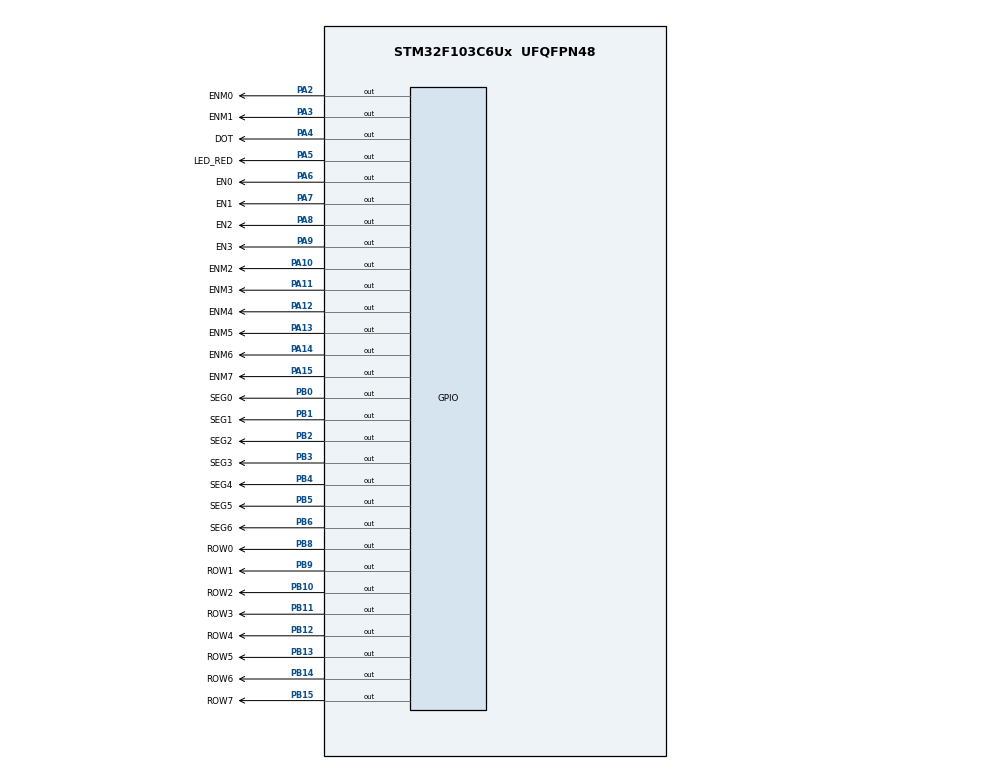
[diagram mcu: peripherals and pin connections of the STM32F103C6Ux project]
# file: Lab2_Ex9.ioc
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Mcu.Family=STM32F1
Mcu.Name=STM32F103C6Ux
Mcu.Package=UFQFPN48
NVIC.PriorityGroup=NVIC_PRIORITYGROUP_4
NVIC.TIM2_IRQn=true\:0\:0\:false\:false\:true\:true\:true
PA10.GPIO_Label=ENM2
PA10.Signal=GPIO_Output
PA11.GPIO_Label=ENM3
PA11.Signal=GPIO_Output
PA12.GPIO_Label=ENM4
PA12.Signal=GPIO_Output
PA13.GPIO_Label=ENM5
PA13.Signal=GPIO_Output
PA14.GPIO_Label=ENM6
PA14.Signal=GPIO_Output
PA15.GPIO_Label=ENM7
PA15.Signal=GPIO_Output
PA2.GPIO_Label=ENM0
PA2.Signal=GPIO_Output
PA3.GPIO_Label=ENM1
PA3.Signal=GPIO_Output
PA4.GPIO_Label=DOT
PA4.Signal=GPIO_Output
PA5.GPIO_Label=LED_RED
PA5.Signal=GPIO_Output
PA6.GPIO_Label=EN0
PA6.Signal=GPIO_Output
PA7.GPIO_Label=EN1
PA7.Signal=GPIO_Output
PA8.GPIO_Label=EN2
PA8.Signal=GPIO_Output
PA9.GPIO_Label=EN3
PA9.Signal=GPIO_Output
PB0.GPIO_Label=SEG0
PB0.Signal=GPIO_Output
PB1.GPIO_Label=SEG1
PB1.Signal=GPIO_Output
PB10.GPIO_Label=ROW2
PB10.Signal=GPIO_Output
PB11.GPIO_Label=ROW3
PB11.Signal=GPIO_Output
PB12.GPIO_Label=ROW4
PB12.Signal=GPIO_Output
PB13.GPIO_Label=ROW5
PB13.Signal=GPIO_Output
PB14.GPIO_Label=ROW6
PB14.Signal=GPIO_Output
PB15.GPIO_Label=ROW7
PB15.Signal=GPIO_Output
PB2.GPIO_Label=SEG2
PB2.Signal=GPIO_Output
PB3.GPIO_Label=SEG3
PB3.Signal=GPIO_Output
PB4.GPIO_Label=SEG4
PB4.Signal=GPIO_Output
PB5.GPIO_Label=SEG5
PB5.Signal=GPIO_Output
PB6.GPIO_Label=SEG6
PB6.Signal=GPIO_Output
PB8.GPIO_Label=ROW0
PB8.Signal=GPIO_Output
PB9.GPIO_Label=ROW1
PB9.Signal=GPIO_Output
ProjectManager.HeapSize=0x200
ProjectManager.StackSize=0x400
ProjectManager.TargetToolchain=STM32CubeIDE
RCC.APB1Freq_Value=8000000
RCC.APB2Freq_Value=8000000
TIM2.Period=9
TIM2.Prescaler=7999
VP_SYS_VS_ND.Mode=No_Debug
VP_TIM2_VS_ClockSourceINT.Mode=Internal
board=custom

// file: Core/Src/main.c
/* USER CODE BEGIN Header */
/**
  ******************************************************************************
  * @file           : main.c
  * @brief          : Main program body
  ******************************************************************************
  * @attention
  *
  * <h2><center>&copy; Copyright (c) 2026 STMicroelectronics.
  * All rights reserved.</center></h2>
  *
  * This software component is licensed by ST under BSD 3-Clause license,
  * the "License"; You may not use this file except in compliance with the
  * License. You may obtain a copy of the License at:
  *                        opensource.org/licenses/BSD-3-Clause
  *
  ******************************************************************************
  */
/* USER CODE END Header */
#include "main.h"

TIM_HandleTypeDef htim2;

/* USER CODE BEGIN PV */
const int MAX_LED = 4;
int index_led = 0;
int led_buffer[4] = {0, 0, 0, 0};

int hour = 15;
int minute = 8;
int second = 50;

// For ex3.9 , 3.10
const int MAX_LED_MATRIX = 8;
int index_led_matrix = 0;
uint8_t matrix_buffer[8] = {0x00, 0xFC, 0x12, 0x11, 0x11, 0x12, 0xFC, 0x00};

/* USER CODE END PV */

void SystemClock_Config(void);
static void MX_GPIO_Init(void);
static void MX_TIM2_Init(void);
/* USER CODE BEGIN PFP */
void display7SEG(int num);
void update7SEG(int index);
void updateClockBuffer(void);
void updateLEDMatrix(int index);
/* USER CODE END PFP */

/* USER CODE BEGIN 0 */
// --- TIMER 0 (For clock and DOT - 1000ms) ---
int timer0_counter = 0;
int timer0_flag = 0;

// --- TIMER 1 (led segment - 250ms) ---
int timer1_counter = 0;
int timer1_flag = 0;

// --- TIMER 2 ( 8 col LED Matrix - 20ms) ---
int timer2_counter = 0;
int timer2_flag = 0;

int TIMER_CYCLE = 10; // TIM2 10ms

void setTimer0(int duration) {
    timer0_counter = duration / TIMER_CYCLE;
    timer0_flag = 0;
}

void setTimer1(int duration) {
    timer1_counter = duration / TIMER_CYCLE;
    timer1_flag = 0;
}

void setTimer2(int duration) {
    timer2_counter = duration / TIMER_CYCLE;
    timer2_flag = 0;
}

void timer_run() {
    if (timer0_counter > 0) {
        timer0_counter--;
        if (timer0_counter == 0) timer0_flag = 1;
    }
    if (timer1_counter > 0) {
        timer1_counter--;
        if (timer1_counter == 0) timer1_flag = 1;
    }
    // Thêm bộ đếm cho Timer 2
    if (timer2_counter > 0) {
        timer2_counter--;
        if (timer2_counter == 0) timer2_flag = 1;
    }
}
/* USER CODE END 0 */

int main(void)
{

  /* MCU Configuration--------------------------------------------------------*/

  /* Reset of all peripherals, Initializes the Flash interface and the Systick. */
  HAL_Init();

  /* Configure the system clock */
  SystemClock_Config();

  /* Initialize all configured peripherals */
  MX_GPIO_Init();
  MX_TIM2_Init();
  /* USER CODE BEGIN 2 */
  // Function prototype
  HAL_TIM_Base_Start_IT (& htim2 );
  HAL_GPIO_WritePin(GPIOA, EN0_Pin | EN1_Pin | EN2_Pin | EN3_Pin, GPIO_PIN_SET);

  //Update initial val to led_buff
  updateClockBuffer();
  setTimer0(1000);
  setTimer1(250);
  setTimer2(20);
  /* USER CODE END 2 */

  /* Infinite loop */
  /* USER CODE BEGIN WHILE */
  while (1)
  {
	  // --- TASK 1: 7 led segment( 250ms) ---
	        if (timer1_flag == 1) {
	            setTimer1(250);

	            update7SEG(index_led);
	            index_led++;
	            if (index_led >= MAX_LED) {
	                index_led = 0;
	            }
	        }

	        // --- TASK 2:CLOCK & DOT (1000ms) ---
	        if (timer0_flag == 1) {
	            setTimer0(1000);

	            HAL_GPIO_TogglePin(DOT_GPIO_Port, DOT_Pin);

	            second++;
	            if (second >= 60) {
	                second = 0;
	                minute++;
	            }
	            if (minute >= 60) {
	                minute = 0;
	                hour++;
	            }
	            if (hour >= 24) {
	                hour = 0;
	            }

	            updateClockBuffer();
	        }

	        // --- TASK 3: matrix LED 8x8 (Every 20ms) ---
	             if (timer2_flag == 1) {
	                 setTimer2(20);

	                 updateLEDMatrix(index_led_matrix);
	                 index_led_matrix++;
	                 if (index_led_matrix >= MAX_LED_MATRIX) {
	                     index_led_matrix = 0;
	                 }
	             }
    /* USER CODE END WHILE */

  }
}

void SystemClock_Config(void)
{
  RCC_OscInitTypeDef RCC_OscInitStruct = {0};
  RCC_ClkInitTypeDef RCC_ClkInitStruct = {0};

  /** Initializes the RCC Oscillators according to the specified parameters
  * in the RCC_OscInitTypeDef structure.
  */
  RCC_OscInitStruct.OscillatorType = RCC_OSCILLATORTYPE_HSI;
  RCC_OscInitStruct.HSIState = RCC_HSI_ON;
  RCC_OscInitStruct.HSICalibrationValue = RCC_HSICALIBRATION_DEFAULT;
  RCC_OscInitStruct.PLL.PLLState = RCC_PLL_NONE;
  if (HAL_RCC_OscConfig(&RCC_OscInitStruct) != HAL_OK)
  {
    Error_Handler();
  }
  /** Initializes the CPU, AHB and APB buses clocks
  */
  RCC_ClkInitStruct.ClockType = RCC_CLOCKTYPE_HCLK|RCC_CLOCKTYPE_SYSCLK
                              |RCC_CLOCKTYPE_PCLK1|RCC_CLOCKTYPE_PCLK2;
  RCC_ClkInitStruct.SYSCLKSource = RCC_SYSCLKSOURCE_HSI;
  RCC_ClkInitStruct.AHBCLKDivider = RCC_SYSCLK_DIV1;
  RCC_ClkInitStruct.APB1CLKDivider = RCC_HCLK_DIV1;
  RCC_ClkInitStruct.APB2CLKDivider = RCC_HCLK_DIV1;

  if (HAL_RCC_ClockConfig(&RCC_ClkInitStruct, FLASH_LATENCY_0) != HAL_OK)
  {
    Error_Handler();
  }
}

static void MX_TIM2_Init(void)
{

  TIM_ClockConfigTypeDef sClockSourceConfig = {0};
  TIM_MasterConfigTypeDef sMasterConfig = {0};

  htim2.Instance = TIM2;
  htim2.Init.Prescaler = 7999;
  htim2.Init.CounterMode = TIM_COUNTERMODE_UP;
  htim2.Init.Period = 9;
  htim2.Init.ClockDivision = TIM_CLOCKDIVISION_DIV1;
  htim2.Init.AutoReloadPreload = TIM_AUTORELOAD_PRELOAD_DISABLE;
  if (HAL_TIM_Base_Init(&htim2) != HAL_OK)
  {
    Error_Handler();
  }
  sClockSourceConfig.ClockSource = TIM_CLOCKSOURCE_INTERNAL;
  if (HAL_TIM_ConfigClockSource(&htim2, &sClockSourceConfig) != HAL_OK)
  {
    Error_Handler();
  }
  sMasterConfig.MasterOutputTrigger = TIM_TRGO_RESET;
  sMasterConfig.MasterSlaveMode = TIM_MASTERSLAVEMODE_DISABLE;
  if (HAL_TIMEx_MasterConfigSynchronization(&htim2, &sMasterConfig) != HAL_OK)
  {
    Error_Handler();
  }

}

static void MX_GPIO_Init(void)
{
  GPIO_InitTypeDef GPIO_InitStruct = {0};

  /* GPIO Ports Clock Enable */
  __HAL_RCC_GPIOA_CLK_ENABLE();
  __HAL_RCC_GPIOB_CLK_ENABLE();

  /*Configure GPIO pin Output Level */
  HAL_GPIO_WritePin(GPIOA, ENM0_Pin|ENM1_Pin|DOT_Pin|LED_RED_Pin
                          |EN0_Pin|EN1_Pin|EN2_Pin|EN3_Pin
                          |ENM2_Pin|ENM3_Pin|ENM4_Pin|ENM5_Pin
                          |ENM6_Pin|ENM7_Pin, GPIO_PIN_RESET);

  /*Configure GPIO pin Output Level */
  HAL_GPIO_WritePin(GPIOB, SEG0_Pin|SEG1_Pin|SEG2_Pin|ROW2_Pin
                          |ROW3_Pin|ROW4_Pin|ROW5_Pin|ROW6_Pin
                          |ROW7_Pin|SEG3_Pin|SEG4_Pin|SEG5_Pin
                          |SEG6_Pin|ROW0_Pin|ROW1_Pin, GPIO_PIN_RESET);

  /*Configure GPIO pins : ENM0_Pin ENM1_Pin DOT_Pin LED_RED_Pin
                           EN0_Pin EN1_Pin EN2_Pin EN3_Pin
                           ENM2_Pin ENM3_Pin ENM4_Pin ENM5_Pin
                           ENM6_Pin ENM7_Pin */
  GPIO_InitStruct.Pin = ENM0_Pin|ENM1_Pin|DOT_Pin|LED_RED_Pin
                          |EN0_Pin|EN1_Pin|EN2_Pin|EN3_Pin
                          |ENM2_Pin|ENM3_Pin|ENM4_Pin|ENM5_Pin
                          |ENM6_Pin|ENM7_Pin;
  GPIO_InitStruct.Mode = GPIO_MODE_OUTPUT_PP;
  GPIO_InitStruct.Pull = GPIO_NOPULL;
  GPIO_InitStruct.Speed = GPIO_SPEED_FREQ_LOW;
  HAL_GPIO_Init(GPIOA, &GPIO_InitStruct);

  /*Configure GPIO pins : SEG0_Pin SEG1_Pin SEG2_Pin ROW2_Pin
                           ROW3_Pin ROW4_Pin ROW5_Pin ROW6_Pin
                           ROW7_Pin SEG3_Pin SEG4_Pin SEG5_Pin
                           SEG6_Pin ROW0_Pin ROW1_Pin */
  GPIO_InitStruct.Pin = SEG0_Pin|SEG1_Pin|SEG2_Pin|ROW2_Pin
                          |ROW3_Pin|ROW4_Pin|ROW5_Pin|ROW6_Pin
                          |ROW7_Pin|SEG3_Pin|SEG4_Pin|SEG5_Pin
                          |SEG6_Pin|ROW0_Pin|ROW1_Pin;
  GPIO_InitStruct.Mode = GPIO_MODE_OUTPUT_PP;
  GPIO_InitStruct.Pull = GPIO_NOPULL;
  GPIO_InitStruct.Speed = GPIO_SPEED_FREQ_LOW;
  HAL_GPIO_Init(GPIOB, &GPIO_InitStruct);

}

/* USER CODE BEGIN 4 */
void updateClockBuffer(void) {
    // hour: 15 -> led_buffer[0] = 1, led_buffer[1] = 5
    led_buffer[0] = hour / 10;
    led_buffer[1] = hour % 10;

    // minute: 8 -> led_buffer[2] = 0, led_buffer[3] = 8
    led_buffer[2] = minute / 10;
    led_buffer[3] = minute % 10;
}

void display7SEG(int num){
	//On = 0, OFF =1
	uint8_t hex_code[10] = {0x40 , 0x79 , 0x24 , 0x30 , 0x19 , 0x12 ,0x02 , 0x78 , 0x00 , 0x10 };

	if (num<0 || num>9) return;
	uint8_t code = hex_code[num];
	// Using shifting bit & AND logic to isolate the state of each pin
		HAL_GPIO_WritePin(GPIOB , SEG0_Pin, (( code >> 0) & 0x01 ) ? GPIO_PIN_SET : GPIO_PIN_RESET ) ;
		HAL_GPIO_WritePin(GPIOB , SEG1_Pin, (( code >> 1) & 0x01 ) ? GPIO_PIN_SET : GPIO_PIN_RESET ) ;
		HAL_GPIO_WritePin(GPIOB , SEG2_Pin, (( code >> 2) & 0x01 ) ? GPIO_PIN_SET : GPIO_PIN_RESET ) ;
		HAL_GPIO_WritePin(GPIOB , SEG3_Pin, (( code >> 3) & 0x01 ) ? GPIO_PIN_SET : GPIO_PIN_RESET ) ;
		HAL_GPIO_WritePin(GPIOB , SEG4_Pin, (( code >> 4) & 0x01 ) ? GPIO_PIN_SET : GPIO_PIN_RESET ) ;
		HAL_GPIO_WritePin(GPIOB , SEG5_Pin, (( code >> 5) & 0x01 ) ? GPIO_PIN_SET : GPIO_PIN_RESET ) ;
		HAL_GPIO_WritePin(GPIOB , SEG6_Pin, (( code >> 6) & 0x01 ) ? GPIO_PIN_SET : GPIO_PIN_RESET ) ;

}

void update7SEG(int index) {
    // Turn off all four LEDs before turning on a new one to prevent light bleed.
    HAL_GPIO_WritePin(EN0_GPIO_Port, EN0_Pin, GPIO_PIN_SET);
    HAL_GPIO_WritePin(EN1_GPIO_Port, EN1_Pin, GPIO_PIN_SET);
    HAL_GPIO_WritePin(EN2_GPIO_Port, EN2_Pin, GPIO_PIN_SET);
    HAL_GPIO_WritePin(EN3_GPIO_Port, EN3_Pin, GPIO_PIN_SET);

    switch (index) {
        case 0:
            display7SEG(led_buffer[0]);
            HAL_GPIO_WritePin(EN0_GPIO_Port, EN0_Pin, GPIO_PIN_RESET);
            break;
        case 1:
            display7SEG(led_buffer[1]);
            HAL_GPIO_WritePin(EN1_GPIO_Port, EN1_Pin, GPIO_PIN_RESET);
            break;
        case 2:
            display7SEG(led_buffer[2]);
            HAL_GPIO_WritePin(EN2_GPIO_Port, EN2_Pin, GPIO_PIN_RESET);
            break;
        case 3:
            display7SEG(led_buffer[3]);
            HAL_GPIO_WritePin(EN3_GPIO_Port, EN3_Pin, GPIO_PIN_RESET);
            break;
        default:
            break;
    }
}

void HAL_TIM_PeriodElapsedCallback(TIM_HandleTypeDef *htim) {
	if (htim->Instance == TIM2) {
	        // The interrupt function is dedicated solely to running the timer; it is extremely lightweight and fast.
	        timer_run();
	    }
}
//Function to output data to 8 lines (PB8 -> PB15)
void setRowMatrix(uint8_t value) {
	HAL_GPIO_WritePin(GPIOB, GPIO_PIN_8,  (value & 0x01) ? GPIO_PIN_RESET : GPIO_PIN_SET);
	    HAL_GPIO_WritePin(GPIOB, GPIO_PIN_9,  (value & 0x02) ? GPIO_PIN_RESET : GPIO_PIN_SET);
	    HAL_GPIO_WritePin(GPIOB, GPIO_PIN_10, (value & 0x04) ? GPIO_PIN_RESET : GPIO_PIN_SET);
	    HAL_GPIO_WritePin(GPIOB, GPIO_PIN_11, (value & 0x08) ? GPIO_PIN_RESET : GPIO_PIN_SET);
	    HAL_GPIO_WritePin(GPIOB, GPIO_PIN_12, (value & 0x10) ? GPIO_PIN_RESET : GPIO_PIN_SET);
	    HAL_GPIO_WritePin(GPIOB, GPIO_PIN_13, (value & 0x20) ? GPIO_PIN_RESET : GPIO_PIN_SET);
	    HAL_GPIO_WritePin(GPIOB, GPIO_PIN_14, (value & 0x40) ? GPIO_PIN_RESET : GPIO_PIN_SET);
	    HAL_GPIO_WritePin(GPIOB, GPIO_PIN_15, (value & 0x80) ? GPIO_PIN_RESET : GPIO_PIN_SET);
}
// Function to disable all 8 ENM columns to prevent image ghosting.
void clearAllColumns(void) {
	 HAL_GPIO_WritePin(GPIOA, ENM0_Pin | ENM1_Pin | ENM2_Pin | ENM3_Pin |
	                             ENM4_Pin | ENM5_Pin | ENM6_Pin | ENM7_Pin, GPIO_PIN_SET);
}
void updateLEDMatrix(int index) {
	// off all cols
	    clearAllColumns();

	    // extract row data
	    setRowMatrix(matrix_buffer[index]);

	    // Enable ONLY the index column: Output RESET (0) to trigger the ULN interrupt; a pull-up resistor pulls the column to VDD.
	    switch (index) {
	        case 0:
	            HAL_GPIO_WritePin(GPIOA, ENM0_Pin, GPIO_PIN_RESET);
	            break;
	        case 1:
	            HAL_GPIO_WritePin(GPIOA, ENM1_Pin, GPIO_PIN_RESET);
	            break;
	        case 2:
	            HAL_GPIO_WritePin(GPIOA, ENM2_Pin, GPIO_PIN_RESET);
	            break;
	        case 3:
	            HAL_GPIO_WritePin(GPIOA, ENM3_Pin, GPIO_PIN_RESET);
	            break;
	        case 4:
	            HAL_GPIO_WritePin(GPIOA, ENM4_Pin, GPIO_PIN_RESET);
	            break;
	        case 5:
	            HAL_GPIO_WritePin(GPIOA, ENM5_Pin, GPIO_PIN_RESET);
	            break;
	        case 6:
	            HAL_GPIO_WritePin(GPIOA, ENM6_Pin, GPIO_PIN_RESET);
	            break;
	        case 7:
	            HAL_GPIO_WritePin(GPIOA, ENM7_Pin, GPIO_PIN_RESET);
	            break;
	        default:
	            break;
	    }
}
/* USER CODE END 4 */

void Error_Handler(void)
{
  __disable_irq();
  while (1)
  {
  }
}

/************************ (C) COPYRIGHT STMicroelectronics *****END OF FILE****/
